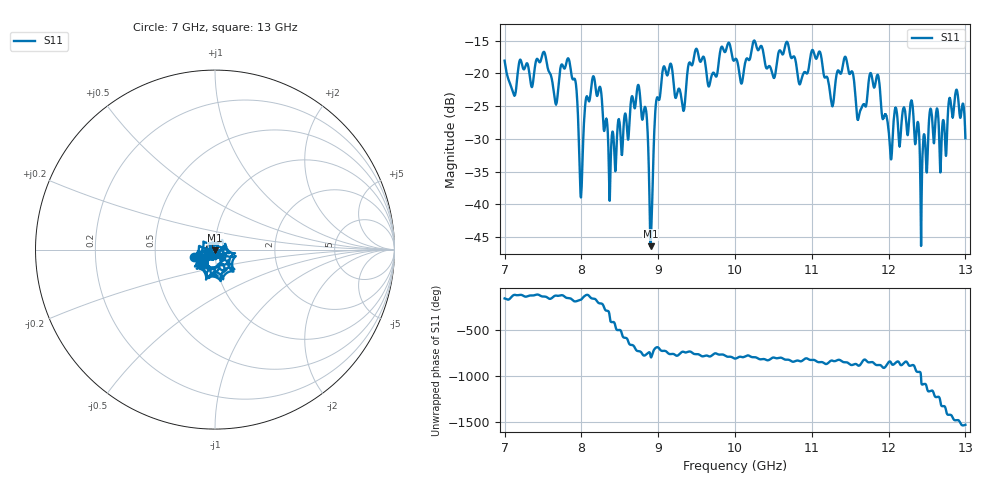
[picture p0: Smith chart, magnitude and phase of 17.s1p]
[Version] 2.0
! Rohde & Schwarz Vector Network Analyzer
! Rohde-Schwarz,ZNL20-2Port,1323001220200009,1.71.1.10-23.02.1.238
! Trace info:
! Nominal Param -> Actual Exported Buffer
! S11 -> S22
! Created: GMT+3 2024-09-24 16:39:56
# Hz S DB R 50
[Number of Ports] 1
! freq[Hz]  S11[mag dB]  S11[ang]
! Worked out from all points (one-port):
!   6001 points, 7 GHz to 13 GHz, reference 50 ohm
!   lowest |S11| = -46.4 dB at 8.901 GHz (marker M1), VSWR 1.01, Z = 50.2 - j0.45 ohm
!   |S11| at or under -10 dB: start of sweep to end of sweep
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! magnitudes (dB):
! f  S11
! 7 GHz  -18.1
! 7.122 GHz  -23.3
! 7.513 GHz  -16.7
! 7.667 GHz  -24.7
! 7.75 GHz  -18.7
! 7.919 GHz  -21.0
! 7.994 GHz  -38.9
! 8.153 GHz  -20.4
! 8.368 GHz  -39.5
! 8.5 GHz  -27.8
! 8.745 GHz  -21.8
! 8.843 GHz  -25.7
! 8.901 GHz  -46.4
! 8.971 GHz  -24.5
! 9.063 GHz  -19.3
! 9.25 GHz  -22.9
! 10 GHz  -17.8
! 10.75 GHz  -17.5
! 11.1 GHz  -16.7
! 11.27 GHz  -25.0
! 11.5 GHz  -20.0
! 11.61 GHz  -26.7
! 11.86 GHz  -20.2
! 12.03 GHz  -32.7
! 12.25 GHz  -29.4
! 12.43 GHz  -40.8
! 12.55 GHz  -25.4
! 13 GHz  -29.9
